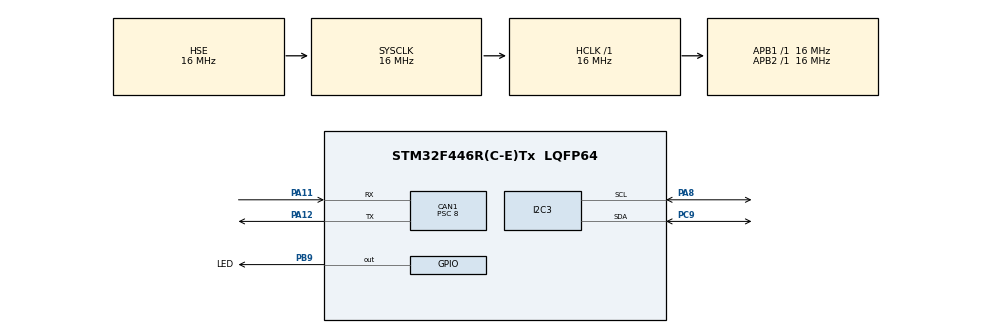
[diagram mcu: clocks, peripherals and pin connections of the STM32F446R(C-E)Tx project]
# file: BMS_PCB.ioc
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CAN1.BS2=CAN_BS2_2TQ
CAN1.CalculateBaudRate=500000
CAN1.CalculateTimeBit=2000
CAN1.CalculateTimeQuantum=500.0
CAN1.Prescaler=8
Mcu.Family=STM32F4
Mcu.Name=STM32F446R(C-E)Tx
Mcu.Package=LQFP64
NVIC.CAN1_RX0_IRQn=true\:0\:0\:false\:false\:true\:true\:true\:true
NVIC.PriorityGroup=NVIC_PRIORITYGROUP_4
PA11.Mode=CAN_Activate
PA11.Signal=CAN1_RX
PA12.Mode=CAN_Activate
PA12.Signal=CAN1_TX
PA13.Mode=Serial_Wire
PA13.Signal=SYS_JTMS-SWDIO
PA14.Mode=Serial_Wire
PA14.Signal=SYS_JTCK-SWCLK
PA8.Mode=I2C
PA8.Signal=I2C3_SCL
PB3.Signal=SYS_JTDO-SWO
PB9.GPIO_Label=LED
PB9.GPIO_Speed=GPIO_SPEED_FREQ_HIGH
PB9.Signal=GPIO_Output
PC9.Mode=I2C
PC9.Signal=I2C3_SDA
PH0-OSC_IN.Mode=HSE-External-Oscillator
PH0-OSC_IN.Signal=RCC_OSC_IN
PH1-OSC_OUT.Mode=HSE-External-Oscillator
PH1-OSC_OUT.Signal=RCC_OSC_OUT
ProjectManager.HeapSize=0x200
ProjectManager.StackSize=0x400
ProjectManager.TargetToolchain=STM32CubeIDE
RCC.AHBFreq_Value=16000000
RCC.APB1Freq_Value=16000000
RCC.APB1TimFreq_Value=16000000
RCC.APB2Freq_Value=16000000
RCC.APB2TimFreq_Value=16000000
RCC.CortexFreq_Value=16000000
RCC.HCLKFreq_Value=16000000
RCC.HSE_VALUE=16000000
RCC.PLLSourceVirtual=RCC_PLLSOURCE_HSE
RCC.SYSCLKFreq_VALUE=16000000
RCC.SYSCLKSource=RCC_SYSCLKSOURCE_HSE
RCC.USBFreq_Value=96000000
RCC.VCOOutputFreq_Value=192000000
board=custom

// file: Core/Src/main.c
/* USER CODE BEGIN Header */
/**
  ******************************************************************************
  * @file           : main.c
  * @brief          : Main program body
  ******************************************************************************
  * @attention
  *
  * Copyright (c) 2024 STMicroelectronics.
  * All rights reserved.
  *
  * This software is licensed under terms that can be found in the LICENSE file
  * in the root directory of this software component.
  * If no LICENSE file comes with this software, it is provided AS-IS.
  *
  ******************************************************************************
  */
/* USER CODE END Header */
#include "main.h"

/* USER CODE BEGIN Includes */
#include <stdio.h>
#include "BQ769x2Header.h"

/* USER CODE END Includes */

/* USER CODE BEGIN PD */
#define ADDR  0x10
#define CRC_Mode 1
#define MAX_BUFFER_SIZE 10
#define R 0
#define W 1
#define W2 2 // Write data with two bytes

/* USER CODE END PD */

CAN_HandleTypeDef hcan1;

I2C_HandleTypeDef hi2c3;

/* USER CODE BEGIN PV */
uint8_t RX_data [2] = {0x00, 0x00};
uint8_t RX_32Byte [32] = {0x00, 0x00, 0x00, 0x00, 0x00, 0x00, 0x00, 0x00, 0x00, 0x00, 0x00, 0x00, 0x00, 0x00, 0x00, 0x00,
	0x00, 0x00, 0x00, 0x00, 0x00, 0x00, 0x00, 0x00, 0x00, 0x00, 0x00, 0x00, 0x00, 0x00, 0x00, 0x00};

uint16_t CellVoltage [16] = {0x00,0x00,0x00,0x00,0x00,0x00,0x00,0x00,0x00,0x00,0x00,0x00,0x00,0x00,0x00,0x00};
float Temperature [3] = {0,0,0};
uint16_t Stack_Voltage = 0x00;
uint16_t Pack_Voltage = 0x00;
uint16_t LD_Voltage = 0x00;
uint16_t Pack_Current = 0x00;

uint8_t FET_Status;  // FET Status register contents  - Shows states of FETs

uint8_t DSG = 0;   // discharge FET state
uint8_t CHG = 0;   // charge FET state

uint16_t AlarmBits = 0x00;
uint8_t value_SafetyStatusA;  // Safety Status Register A
uint8_t value_SafetyStatusB;  // Safety Status Register B
uint8_t value_SafetyStatusC;  // Safety Status Register C
uint8_t value_PFStatusA;   // Permanent Fail Status Register A
uint8_t value_PFStatusB;   // Permanent Fail Status Register B
uint8_t value_PFStatusC;   // Permanent Fail Status Register C

uint8_t	UV_Fault = 0;   // under-voltage fault state
uint8_t	OV_Fault = 0;   // over-voltage fault state
uint8_t	SCD_Fault = 0;  // short-circuit fault state
uint8_t	OCD_Fault = 0;  // over-current fault state
uint8_t ProtectionsTriggered = 0; // Set to 1 if any protection triggers

uint32_t AccumulatedCharge_Int; // in BQ769x2_READPASSQ func
uint32_t AccumulatedCharge_Frac;// in BQ769x2_READPASSQ func
uint32_t AccumulatedCharge_Time;// in BQ769x2_READPASSQ func

/* USER CODE END PV */

void SystemClock_Config(void);
static void MX_GPIO_Init(void);
static void MX_I2C3_Init(void);
static void MX_CAN1_Init(void);
/* USER CODE BEGIN PFP */
void delayUS(uint32_t us) {
	HAL_Delay(us * 0.001);
}

void CopyArray(uint8_t *source, uint8_t *dest, uint8_t count)
{
    uint8_t copyIndex = 0;
    for (copyIndex = 0; copyIndex < count; copyIndex++)
    {
        dest[copyIndex] = source[copyIndex];
    }
}

unsigned char Checksum(unsigned char *ptr, unsigned char len)
// Calculates the checksum when writing to a RAM register. The checksum is the inverse of the sum of the bytes.
{
	unsigned char i;
	unsigned char checksum = 0;

	for(i=0; i<len; i++)
		checksum += ptr[i];

	checksum = 0xff & ~checksum;

	return(checksum);
}

unsigned char CRC8(unsigned char *ptr, unsigned char len)
//Calculates CRC8 for passed bytes. Used in i2c read and write functions
{
	unsigned char i;
	unsigned char crc=0;
	while(len--!=0)
	{
		for(i=0x80; i!=0; i/=2)
		{
			if((crc & 0x80) != 0)
			{
				crc *= 2;
				crc ^= 0x107;
			}
			else
				crc *= 2;

			if((*ptr & i)!=0)
				crc ^= 0x107;
		}
		ptr++;
	}
	return(crc);
}

void I2C_WriteReg(uint8_t reg_addr, uint8_t *reg_data, uint8_t count)
{
	uint8_t TX_Buffer [MAX_BUFFER_SIZE] = {0x00,0x00,0x00,0x00,0x00,0x00,0x00,0x00,0x00,0x00};

	uint8_t crc_count = 0;
	crc_count = count * 2;
	uint8_t crc1stByteBuffer [3] = {0x10, reg_addr, reg_data[0]};
	unsigned int j;
	unsigned int i;
	uint8_t temp_crc_buffer [3];

	TX_Buffer[0] = reg_data[0];
	TX_Buffer[1] = CRC8(crc1stByteBuffer,3);

	j = 2;
	for(i=1; i<count; i++)
	{
		TX_Buffer[j] = reg_data[i];
		j = j + 1;
		temp_crc_buffer[0] = reg_data[i];
		TX_Buffer[j] = CRC8(temp_crc_buffer,1);
		j = j + 1;
	}
	HAL_I2C_Mem_Write(&hi2c3, ADDR, reg_addr, 1, TX_Buffer, crc_count, 1000);
}

int I2C_ReadReg(uint8_t reg_addr, uint8_t *reg_data, uint8_t count)
{
	unsigned int RX_CRC_Fail = 0;  // reset to 0. If in CRC Mode and CRC fails, this will be incremented.
	uint8_t RX_Buffer [MAX_BUFFER_SIZE] = {0x00,0x00,0x00,0x00,0x00,0x00,0x00,0x00,0x00,0x00};

	uint8_t crc_count = 0;
	uint8_t ReceiveBuffer [10] = {0x00,0x00,0x00,0x00,0x00,0x00,0x00,0x00,0x00,0x00};
	crc_count = count * 2;
	unsigned int j;
	unsigned int i;
	unsigned char CRCc = 0;
	uint8_t temp_crc_buffer [3];

	HAL_I2C_Mem_Read(&hi2c3, ADDR, reg_addr, 1, ReceiveBuffer, crc_count, 1000);
	uint8_t crc1stByteBuffer [4] = {0x10, reg_addr, 0x11, ReceiveBuffer[0]};
	CRCc = CRC8(crc1stByteBuffer,4);
	if (CRCc != ReceiveBuffer[1])
	{
		RX_CRC_Fail += 1;
	}
	RX_Buffer[0] = ReceiveBuffer[0];

	j = 2;
	for (i=1; i<count; i++)
	{
		RX_Buffer[i] = ReceiveBuffer[j];
		temp_crc_buffer[0] = ReceiveBuffer[j];
		j = j + 1;
		CRCc = CRC8(temp_crc_buffer,1);
		if (CRCc != ReceiveBuffer[j])
			RX_CRC_Fail += 1;
		j = j + 1;
	}
	CopyArray(RX_Buffer, reg_data, crc_count);

	return 0;
}

void BQ769x2_SetRegister(uint16_t reg_addr, uint32_t reg_data, uint8_t datalen)
{
	uint8_t TX_Buffer[2] = {0x00, 0x00};
	uint8_t TX_RegData[6] = {0x00, 0x00, 0x00, 0x00, 0x00, 0x00};

	//TX_RegData in little endian format
	TX_RegData[0] = reg_addr & 0xff;
	TX_RegData[1] = (reg_addr >> 8) & 0xff;
	TX_RegData[2] = reg_data & 0xff; //1st byte of data

	switch(datalen)
    {
		case 1: //1 byte datalength
      		I2C_WriteReg(0x3E, TX_RegData, 3);
			delayUS(2000);
			TX_Buffer[0] = Checksum(TX_RegData, 3);
			TX_Buffer[1] = 0x05; //combined length of register address and data
      		I2C_WriteReg(0x60, TX_Buffer, 2); // Write the checksum and length
			delayUS(2000);
			break;
		case 2: //2 byte datalength
			TX_RegData[3] = (reg_data >> 8) & 0xff;
			I2C_WriteReg(0x3E, TX_RegData, 4);
			delayUS(2000);
			TX_Buffer[0] = Checksum(TX_RegData, 4);
			TX_Buffer[1] = 0x06; //combined length of register address and data
      		I2C_WriteReg(0x60, TX_Buffer, 2); // Write the checksum and length
			delayUS(2000);
			break;
		case 4: //4 byte datalength, Only used for CCGain and Capacity Gain
			TX_RegData[3] = (reg_data >> 8) & 0xff;
			TX_RegData[4] = (reg_data >> 16) & 0xff;
			TX_RegData[5] = (reg_data >> 24) & 0xff;
			I2C_WriteReg(0x3E, TX_RegData, 6);
			delayUS(2000);
			TX_Buffer[0] = Checksum(TX_RegData, 6);
			TX_Buffer[1] = 0x08; //combined length of register address and data
      		I2C_WriteReg(0x60, TX_Buffer, 2); // Write the checksum and length
			delayUS(2000);
			break;
    }
}

void CommandSubcommands(uint16_t command) //For Command only Subcommands
{	//For DEEPSLEEP/SHUTDOWN subcommand call this function twice consecutively

	uint8_t TX_Reg[2] = {0x00, 0x00};

	//TX_Reg in little endian format
	TX_Reg[0] = command & 0xff;
	TX_Reg[1] = (command >> 8) & 0xff;

	I2C_WriteReg(0x3E,TX_Reg,2);
	delayUS(2000);
}

void Subcommands(uint16_t command, uint16_t data, uint8_t type)
{
	//max readback size is 32 bytes i.e. DASTATUS, CUV/COV snapshot
	uint8_t TX_Reg[4] = {0x00, 0x00, 0x00, 0x00};
	uint8_t TX_Buffer[2] = {0x00, 0x00};

	//TX_Reg in little endian format
	TX_Reg[0] = command & 0xff;
	TX_Reg[1] = (command >> 8) & 0xff;

	if (type == R) {//read
		I2C_WriteReg(0x3E,TX_Reg,2);
		delayUS(2000);
		I2C_ReadReg(0x40, RX_32Byte, 32);
	}
	else if (type == W) {
		//FET_Control, REG12_Control
		TX_Reg[2] = data & 0xff;
		I2C_WriteReg(0x3E,TX_Reg,3);
		delayUS(1000);
		TX_Buffer[0] = Checksum(TX_Reg, 3);
		TX_Buffer[1] = 0x05; //combined length of registers address and data
		I2C_WriteReg(0x60, TX_Buffer, 2);
		delayUS(1000);
	}
	else if (type == W2){ //write data with 2 bytes
		//CB_Active_Cells, CB_SET_LVL
		TX_Reg[2] = data & 0xff;
		TX_Reg[3] = (data >> 8) & 0xff;
		I2C_WriteReg(0x3E,TX_Reg,4);
		delayUS(1000);
		TX_Buffer[0] = Checksum(TX_Reg, 4);
		TX_Buffer[1] = 0x06; //combined length of registers address and data
		I2C_WriteReg(0x60, TX_Buffer, 2);
		delayUS(1000);
	}
}

void DirectCommands(uint8_t command, uint16_t data, uint8_t type)
{	//type: R = read, W = write
	uint8_t TX_data[2] = {0x00, 0x00};

	//little endian format
	TX_data[0] = data & 0xff;
	TX_data[1] = (data >> 8) & 0xff;

	if (type == R) {//Read
		I2C_ReadReg(command, RX_data, 2); //RX_data is a global variable
		delayUS(2000);
	}
	if (type == W) {//write
    //Control_status, alarm_status, alarm_enable all 2 bytes long
		I2C_WriteReg(command,TX_data,2);
		delayUS(2000);
	}
}

void BQ769x2_Init() {
	// Configures all parameters in device RAM

	// Enter CONFIGUPDATE mode (Subcommand 0x0090) - It is required to be in CONFIG_UPDATE mode to program the device RAM settings
	CommandSubcommands(SET_CFGUPDATE);

	// 'Power Config' - 0x9234 = 0x2D80
	// Setting the DSLP_LDO bit allows the LDOs to remain active when the device goes into Deep Sleep mode
  	// Set wake speed bits to 00 for best performance
	BQ769x2_SetRegister(PowerConfig, 0x2D80, 2);

	// 'REG0 Config' - set REG0_EN bit to enable pre-regulator
	BQ769x2_SetRegister(REG0Config, 0x01, 1);

	// 'REG12 Config' - Enable/Disable REG1 with 3.3V output (0x0D for 3.3V, 0x0F for 5V)
	BQ769x2_SetRegister(REG12Config, 0x0D, 0);

	// Set DFETOFF pin to control BOTH CHG and DSG FET - 0x92FB = 0x42 (set to 0x00 to disable)
	BQ769x2_SetRegister(DFETOFFPinConfig, 0x42, 1);
	BQ769x2_SetRegister(DDSGPinConfig, 0x9A, 1); // Enable DDSG output
	BQ769x2_SetRegister(DCHGPinConfig, 0x9A, 1); // Enable DCHG output

	// 'VCell Mode' - Enable 16 cells - 0x9304 = 0x0000; Writing 0x0000 sets the default of 16 cells
	BQ769x2_SetRegister(VCellMode, 0x0007, 2); // 0x0007 sets it to 3 cells

	// Enable protections in 'Enabled Protections A' 0x9261 = 0xBC
	// Enables SCD (short-circuit), OCD1 (over-current in discharge), OCC (over-current in charge),
	// COV (over-voltage), CUV (under-voltage)
	BQ769x2_SetRegister(EnabledProtectionsA, 0xBC, 1);

	// Enable all protections in 'Enabled Protections B' 0x9262 = 0xF7
	// Enables OTF (over-temperature FET), OTINT (internal over-temperature), OTD (over-temperature in discharge),
	// OTC (over-temperature in charge), UTINT (internal under-temperature), UTD (under-temperature in discharge), UTC (under-temperature in charge)
	BQ769x2_SetRegister(EnabledProtectionsB, 0x00, 1);

	// 'Default Alarm Mask' - 0x..82 Enables the FullScan and ADScan bits, default value = 0xF800
	BQ769x2_SetRegister(DefaultAlarmMask, 0xF882, 2);

	// Set up Cell Balancing Configuration - 0x9335 = 0x03   -  Automated balancing while in Relax or Charge modes
	BQ769x2_SetRegister(BalancingConfiguration, 0x03, 1);

	// Set up CUV (under-voltage) Threshold - 0x9275 = 0x31 (2479 mV)
	// CUV Threshold is this value multiplied by 50.6mV
	BQ769x2_SetRegister(CUVThreshold, 0x31, 1); // 0x3E = 3137 mV

	// Set up COV (over-voltage) Threshold - 0x9278 = 0x55 (4301 mV)
	// COV Threshold is this value multiplied by 50.6mV
	BQ769x2_SetRegister(COVThreshold, 0x55, 1);

	// Set up OCC (over-current in charge) Threshold - 0x9280 = 0x05 (10 mV = 10A across 1mOhm sense resistor) Units in 2mV
	BQ769x2_SetRegister(OCCThreshold, 0x05, 1);

	// Set up OCD1 Threshold - 0x9282 = 0x0A (20 mV = 20A across 1mOhm sense resistor) units of 2mV
	BQ769x2_SetRegister(OCD1Threshold, 0x0A, 1);

	// Set up SCD Threshold - 0x9286 = 0x05 (100 mV = 100A across 1mOhm sense resistor)  0x05=100mV
	BQ769x2_SetRegister(SCDThreshold, 0x05, 1);

	// Set up SCD Delay - 0x9287 = 0x03 (30 us) Enabled with a delay of (value - 1) * 15 µs; min value of 1
	BQ769x2_SetRegister(SCDDelay, 0x03, 1);

	// Set up SCDL Latch Limit to 1 to set SCD recovery only with load removal 0x9295 = 0x01
	// If this is not set, then SCD will recover based on time (SCD Recovery Time parameter).
	BQ769x2_SetRegister(SCDLLatchLimit, 0x01, 1);

	// Exit CONFIGUPDATE mode  - Subcommand 0x0092
	CommandSubcommands(EXIT_CFGUPDATE);
}

void BQ769x2_ReadFETStatus() {
	// Read FET Status to see which FETs are enabled
	DirectCommands(FETStatus, 0x00, R);
	FET_Status = (RX_data[1]*256 + RX_data[0]);
	DSG = ((0x4 & RX_data[0])>>2);// discharge FET state
  	CHG = (0x1 & RX_data[0]);// charge FET state
}

// ********************************* BQ769x2 Status and Fault Commands   *****************************************
uint16_t BQ769x2_ReadAlarmStatus() {
	// Read this register to find out why the ALERT pin was asserted
	DirectCommands(AlarmStatus, 0x00, R);
	return (RX_data[1]*256 + RX_data[0]);
}

void BQ769x2_ReadSafetyStatus() {
	// Read Safety Status A/B/C and find which bits are set
	// This shows which primary protections have been triggered
	DirectCommands(SafetyStatusA, 0x00, R);
	value_SafetyStatusA = (RX_data[1]*256 + RX_data[0]);
	// Fault Flags
	UV_Fault = ((0x4 & RX_data[0])>>2);
	OV_Fault = ((0x8 & RX_data[0])>>3);
	SCD_Fault = ((0x8 & RX_data[1])>>3);
	OCD_Fault = ((0x2 & RX_data[1])>>1);
	DirectCommands(SafetyStatusB, 0x00, R);
	value_SafetyStatusB = (RX_data[1]*256 + RX_data[0]);
	DirectCommands(SafetyStatusC, 0x00, R);
	value_SafetyStatusC = (RX_data[1]*256 + RX_data[0]);
	if ((value_SafetyStatusA + value_SafetyStatusB + value_SafetyStatusC) > 1) {
		ProtectionsTriggered = 1; }
	else {
		ProtectionsTriggered = 0; }
}

void BQ769x2_ReadPFStatus() {
	// Read Permanent Fail Status A/B/C and find which bits are set
	// This shows which permanent failures have been triggered
	DirectCommands(PFStatusA, 0x00, R);
	value_PFStatusA = (RX_data[1]*256 + RX_data[0]);
	DirectCommands(PFStatusB, 0x00, R);
	value_PFStatusB = (RX_data[1]*256 + RX_data[0]);
	DirectCommands(PFStatusC, 0x00, R);
	value_PFStatusC = (RX_data[1]*256 + RX_data[0]);
}

// ********************************* End of BQ769x2 Status and Fault Commands   *****************************************

// ********************************* BQ769x2 Measurement Commands   *****************************************

uint16_t BQ769x2_ReadVoltage(uint8_t command)
// This function can be used to read a specific cell voltage or stack / pack / LD voltage
{
	//RX_data is global var
	DirectCommands(command, 0x00, R);
	if(command >= Cell1Voltage && command <= Cell16Voltage) {//Cells 1 through 16 (0x14 to 0x32)
		return (RX_data[1]*256 + RX_data[0]); //voltage is reported in mV
	}
	else {//stack, Pack, LD
		return 10 * (RX_data[1]*256 + RX_data[0]); //voltage is reported in 0.01V units
	}

}
void BQ769x2_ReadAllVoltages()
// Reads all cell voltages, Stack voltage, PACK pin voltage, and LD pin voltage
{
  int cellvoltageholder = Cell1Voltage; //Cell1Voltage is 0x14
  for (int x = 0; x < 16; x++){//Reads all cell voltages
    CellVoltage[x] = BQ769x2_ReadVoltage(cellvoltageholder);
    cellvoltageholder = cellvoltageholder + 2;
  }
  Stack_Voltage = BQ769x2_ReadVoltage(StackVoltage);
  Pack_Voltage = BQ769x2_ReadVoltage(PACKPinVoltage);
  LD_Voltage = BQ769x2_ReadVoltage(LDPinVoltage);
}

uint16_t BQ769x2_ReadCurrent()
// Reads PACK current
{
	DirectCommands(CC2Current, 0x00, R);
	return (RX_data[1]*256 + RX_data[0]);  // current is reported in mA
}

float BQ769x2_ReadTemperature(uint8_t command)
{
	DirectCommands(command, 0x00, R);
	//RX_data is a global var
	return (0.1 * (float)(RX_data[1]*256 + RX_data[0])) - 273.15;  // converts from 0.1K to Celcius
}

void BQ769x2_ReadPassQ(){ // Read Accumulated Charge and Time from DASTATUS6
	Subcommands(DASTATUS6, 0x00, R);
	AccumulatedCharge_Int = ((RX_32Byte[3]<<24) + (RX_32Byte[2]<<16) + (RX_32Byte[1]<<8) + RX_32Byte[0]); //Bytes 0-3
	AccumulatedCharge_Frac = ((RX_32Byte[7]<<24) + (RX_32Byte[6]<<16) + (RX_32Byte[5]<<8) + RX_32Byte[4]); //Bytes 4-7
	AccumulatedCharge_Time = ((RX_32Byte[11]<<24) + (RX_32Byte[10]<<16) + (RX_32Byte[9]<<8) + RX_32Byte[8]); //Bytes 8-11
}

// ********************************* End of BQ769x2 Measurement Commands   *****************************************

/* USER CODE END PFP */

/* USER CODE BEGIN 0 */
CAN_TxHeaderTypeDef TxHeader;
//CAN_TxHeaderTypeDef TxHeader1;
//CAN_TxHeaderTypeDef TxHeader2;
//
uint8_t vol[8];
//uint8_t volCurr[8];
//uint8_t stats[8];

uint32_t TxMailbox;

/* USER CODE END 0 */

int main(void)
{

  /* MCU Configuration--------------------------------------------------------*/

  /* Reset of all peripherals, Initializes the Flash interface and the Systick. */
  HAL_Init();

  /* Configure the system clock */
  SystemClock_Config();

  /* Initialize all configured peripherals */
  MX_GPIO_Init();
  MX_I2C3_Init();
  MX_CAN1_Init();
  /* USER CODE BEGIN 2 */
  HAL_CAN_Start(&hcan1);

  TxHeader.DLC = 8;
  TxHeader.IDE = CAN_ID_STD;
  TxHeader.RTR = CAN_RTR_DATA;
  TxHeader.StdId = 0x446;

//  TxHeader1.DLC = 8;
//  TxHeader1.IDE = CAN_ID_STD;
//  TxHeader1.RTR = CAN_RTR_DATA;
//  TxHeader1.StdId = 0x447;
//
//  TxHeader2.DLC = 8;
//  TxHeader2.IDE = CAN_ID_STD;
//  TxHeader2.RTR = CAN_RTR_DATA;
//  TxHeader2.StdId = 0x448;

  CommandSubcommands(BQ769x2_RESET);  // Resets the BQ769x2 registers
  delayUS(60000);
  BQ769x2_Init();  // Configure all of the BQ769x2 register settings
  delayUS(10000);
  CommandSubcommands(FET_ENABLE); // Enable the CHG and DSG FETs
  delayUS(10000);
  CommandSubcommands(SLEEP_DISABLE); // Sleep mode is enabled by default.

  //wait to start measurements after FETs close
  delayUS(60000);
  delayUS(60000);
  delayUS(60000);
  delayUS(60000);

  /* USER CODE END 2 */

  /* Infinite loop */
  while (1)
  {

    /* USER CODE BEGIN 3 */
	AlarmBits = BQ769x2_ReadAlarmStatus();
	if (AlarmBits & 0x80) {  // Check if FULLSCAN is complete. If set, new measurements are available
    	BQ769x2_ReadAllVoltages();
    	Pack_Current = BQ769x2_ReadCurrent();
		DirectCommands(AlarmStatus, 0x0080, W);  // Clear the FULLSCAN bit
	}

	if (AlarmBits & 0xC000) {  // If Safety Status bits are showing in AlarmStatus register
		BQ769x2_ReadSafetyStatus(); // Read the Safety Status registers to find which protections have triggered
		if (ProtectionsTriggered & 1) {
			HAL_GPIO_WritePin(LED_GPIO_Port, LED_Pin, GPIO_PIN_SET); }// Turn on the LED to indicate Protection has triggered
			DirectCommands(AlarmStatus, 0xF800, W); // Clear the Safety Status Alarm bits.
		}
	else
	{
		if (ProtectionsTriggered & 1) {
			BQ769x2_ReadSafetyStatus();
			if (!(ProtectionsTriggered & 1))
			{
				HAL_GPIO_WritePin(LED_GPIO_Port, LED_Pin, GPIO_PIN_RESET);
			}
		} // Turn off the LED if Safety Status has cleared which means the protection condition is no longer present
	}
//	Subcommands(CUV_SNAPSHOT, 0x00, R);
	delayUS(20000);  // repeat loop every 20 ms

	vol[0] = (CellVoltage[0] & 0xFF00) >> 8;
	vol[1] = CellVoltage[0] & 0x00FF;
	vol[2] = (CellVoltage[1] & 0xFF00)  >> 8;
	vol[3] = CellVoltage[1] & 0x00FF;
	vol[4] = (CellVoltage[2] & 0xFF00)  >> 8;
	vol[5] = CellVoltage[2] & 0x00FF;
	vol[6] = (Stack_Voltage & 0xFF00)  >> 8;
	vol[7] = Stack_Voltage & 0x00FF;

//	volCurr[0] = (Pack_Voltage & 0xFF00)  >> 8;
//	volCurr[1] = Pack_Voltage & 0x00FF;
//	volCurr[2] = (Pack_Current & 0xFF00)  >> 8;
//	volCurr[2] = Pack_Current & 0x00FF;
//	volCurr[3] = 0;
//	volCurr[4] = 0;
//	volCurr[5] = 0;
//	volCurr[6] = 0;
//	volCurr[7] = 0;
//
//	stats[0] = UV_Fault;
//	stats[1] = OV_Fault;
//	stats[2] = SCD_Fault;
//	stats[3] = OCD_Fault;
//	stats[4] = 0;
//	stats[5] = 0;
//	stats[6] = 0;
//	stats[7] = 0;

	HAL_CAN_AddTxMessage(&hcan1, &TxHeader, vol, &TxMailbox);
//	HAL_CAN_AddTxMessage(&hcan1, &TxHeader1, volCurr, &TxMailbox);
//	HAL_CAN_AddTxMessage(&hcan1, &TxHeader2, stats, &TxMailbox);

	HAL_Delay(1000);
  }
  /* USER CODE END 3 */
}

void SystemClock_Config(void)
{
  RCC_OscInitTypeDef RCC_OscInitStruct = {0};
  RCC_ClkInitTypeDef RCC_ClkInitStruct = {0};

  /** Configure the main internal regulator output voltage
  */
  __HAL_RCC_PWR_CLK_ENABLE();
  __HAL_PWR_VOLTAGESCALING_CONFIG(PWR_REGULATOR_VOLTAGE_SCALE3);

  /** Initializes the RCC Oscillators according to the specified parameters
  * in the RCC_OscInitTypeDef structure.
  */
  RCC_OscInitStruct.OscillatorType = RCC_OSCILLATORTYPE_HSE;
  RCC_OscInitStruct.HSEState = RCC_HSE_ON;
  RCC_OscInitStruct.PLL.PLLState = RCC_PLL_NONE;
  if (HAL_RCC_OscConfig(&RCC_OscInitStruct) != HAL_OK)
  {
    Error_Handler();
  }

  /** Initializes the CPU, AHB and APB buses clocks
  */
  RCC_ClkInitStruct.ClockType = RCC_CLOCKTYPE_HCLK|RCC_CLOCKTYPE_SYSCLK
                              |RCC_CLOCKTYPE_PCLK1|RCC_CLOCKTYPE_PCLK2;
  RCC_ClkInitStruct.SYSCLKSource = RCC_SYSCLKSOURCE_HSE;
  RCC_ClkInitStruct.AHBCLKDivider = RCC_SYSCLK_DIV1;
  RCC_ClkInitStruct.APB1CLKDivider = RCC_HCLK_DIV1;
  RCC_ClkInitStruct.APB2CLKDivider = RCC_HCLK_DIV1;

  if (HAL_RCC_ClockConfig(&RCC_ClkInitStruct, FLASH_LATENCY_0) != HAL_OK)
  {
    Error_Handler();
  }
}

static void MX_CAN1_Init(void)
{

  hcan1.Instance = CAN1;
  hcan1.Init.Prescaler = 8;
  hcan1.Init.Mode = CAN_MODE_NORMAL;
  hcan1.Init.SyncJumpWidth = CAN_SJW_1TQ;
  hcan1.Init.TimeSeg1 = CAN_BS1_1TQ;
  hcan1.Init.TimeSeg2 = CAN_BS2_2TQ;
  hcan1.Init.TimeTriggeredMode = DISABLE;
  hcan1.Init.AutoBusOff = DISABLE;
  hcan1.Init.AutoWakeUp = DISABLE;
  hcan1.Init.AutoRetransmission = DISABLE;
  hcan1.Init.ReceiveFifoLocked = DISABLE;
  hcan1.Init.TransmitFifoPriority = DISABLE;
  if (HAL_CAN_Init(&hcan1) != HAL_OK)
  {
    Error_Handler();
  }

}

static void MX_I2C3_Init(void)
{

  hi2c3.Instance = I2C3;
  hi2c3.Init.ClockSpeed = 100000;
  hi2c3.Init.DutyCycle = I2C_DUTYCYCLE_2;
  hi2c3.Init.OwnAddress1 = 0;
  hi2c3.Init.AddressingMode = I2C_ADDRESSINGMODE_7BIT;
  hi2c3.Init.DualAddressMode = I2C_DUALADDRESS_DISABLE;
  hi2c3.Init.OwnAddress2 = 0;
  hi2c3.Init.GeneralCallMode = I2C_GENERALCALL_DISABLE;
  hi2c3.Init.NoStretchMode = I2C_NOSTRETCH_DISABLE;
  if (HAL_I2C_Init(&hi2c3) != HAL_OK)
  {
    Error_Handler();
  }

}

static void MX_GPIO_Init(void)
{
  GPIO_InitTypeDef GPIO_InitStruct = {0};

  /* GPIO Ports Clock Enable */
  __HAL_RCC_GPIOH_CLK_ENABLE();
  __HAL_RCC_GPIOC_CLK_ENABLE();
  __HAL_RCC_GPIOA_CLK_ENABLE();
  __HAL_RCC_GPIOB_CLK_ENABLE();

  /*Configure GPIO pin Output Level */
  HAL_GPIO_WritePin(LED_GPIO_Port, LED_Pin, GPIO_PIN_RESET);

  /*Configure GPIO pin : LED_Pin */
  GPIO_InitStruct.Pin = LED_Pin;
  GPIO_InitStruct.Mode = GPIO_MODE_OUTPUT_PP;
  GPIO_InitStruct.Pull = GPIO_NOPULL;
  GPIO_InitStruct.Speed = GPIO_SPEED_FREQ_HIGH;
  HAL_GPIO_Init(LED_GPIO_Port, &GPIO_InitStruct);

}

void Error_Handler(void)
{
  __disable_irq();
  while (1)
  {
  }
}
